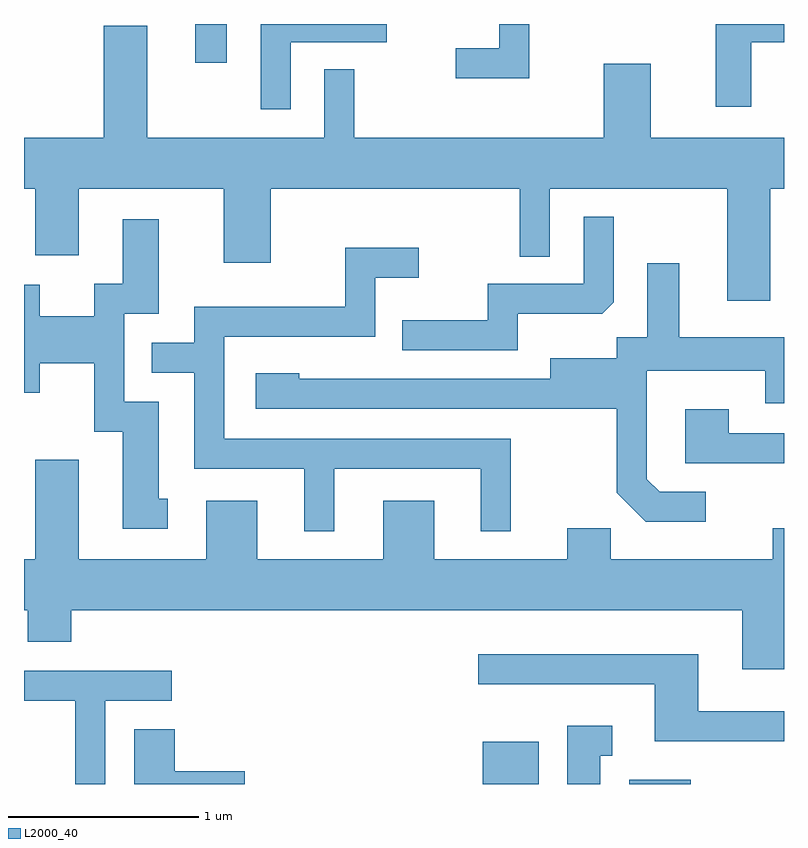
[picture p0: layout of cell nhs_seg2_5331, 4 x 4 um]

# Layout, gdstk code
import gdstk
lib = gdstk.Library(unit=1e-6, precision=1e-09)
def R(c, l, rs):  # rectangles x0, y0, x1, y1
    for r in rs: c.add(gdstk.rectangle(r[:2], r[2:], *l))
def P(c, l, *ps):  # polygons
    for p in ps: c.add(gdstk.Polygon(p, *l))
L2000_40 = (2000, 40)

nhs_seg2_5331 = lib.new_cell('nhs_seg2_5331')
R(nhs_seg2_5331, L2000_40, [(344.026,1091.802,344.319,1092.024), (344.796,1091.802,345.119,1091.824), (342.511,1095.598,342.679,1095.802)])
P(nhs_seg2_5331, L2000_40, [(345.439,1095.706),(345.611,1095.706),(345.611,1095.802),(345.251,1095.802),(345.251,1095.366),(345.439,1095.366)],
  [(344.269,1095.802),(344.111,1095.802),(344.111,1095.674),(343.883,1095.674),(343.883,1095.516),(344.269,1095.516)],
  [(343.014,1095.706),(343.519,1095.706),(343.519,1095.802),(342.856,1095.802),(342.856,1095.353),(343.014,1095.353)],
  [(345.539,1094.936),(345.611,1094.936),(345.611,1095.204),(344.909,1095.204),(344.909,1095.594),(344.661,1095.594),(344.661,1095.204),(343.349,1095.204),(343.349,1095.563),(343.191,1095.563),(343.191,1095.204),(342.259,1095.204),(342.259,1095.794),(342.031,1095.794),(342.031,1095.204),(341.611,1095.204),(341.611,1094.936),(341.671,1094.936),(341.671,1094.586),(341.899,1094.586),(341.899,1094.936),(342.661,1094.936),(342.661,1094.546),(342.909,1094.546),(342.909,1094.936),(344.221,1094.936),(344.221,1094.578),(344.379,1094.578),(344.379,1094.936),(345.311,1094.936),(345.311,1094.346),(345.539,1094.346)],
  [(344.209,1094.276),(344.654,1094.276),(344.714,1094.337),(344.714,1094.788),(344.556,1094.788),(344.556,1094.434),(344.051,1094.434),(344.051,1094.244),(343.603,1094.244),(343.603,1094.086),(344.209,1094.086)],
  [(342.368,1093.304),(342.319,1093.304),(342.319,1093.814),(342.139,1093.814),(342.139,1094.276),(342.319,1094.276),(342.319,1094.774),(342.131,1094.774),(342.131,1094.434),(341.981,1094.434),(341.981,1094.264),(341.694,1094.264),(341.694,1094.429),(341.611,1094.429),(341.611,1093.861),(341.694,1093.861),(341.694,1094.016),(341.981,1094.016),(341.981,1093.656),(342.131,1093.656),(342.131,1093.146),(342.368,1093.146)],
  [(343.244,1093.461),(344.016,1093.461),(344.016,1093.133),(344.174,1093.133),(344.174,1093.619),(342.664,1093.619),(342.664,1094.156),(343.459,1094.156),(343.459,1094.466),(343.688,1094.466),(343.688,1094.624),(343.301,1094.624),(343.301,1094.314),(342.506,1094.314),(342.506,1094.124),(342.283,1094.124),(342.283,1093.966),(342.506,1093.966),(342.506,1093.461),(343.086,1093.461),(343.086,1093.133),(343.244,1093.133)],
  [(345.198,1093.339),(344.957,1093.339),(344.889,1093.407),(344.889,1093.976),(345.511,1093.976),(345.511,1093.806),(345.611,1093.806),(345.611,1094.154),(345.059,1094.154),(345.059,1094.543),(344.891,1094.543),(344.891,1094.154),(344.731,1094.154),(344.731,1094.044),(344.381,1094.044),(344.381,1093.934),(343.059,1093.934),(343.059,1093.964),(342.831,1093.964),(342.831,1093.776),(344.731,1093.776),(344.731,1093.334),(344.884,1093.181),(345.198,1093.181)],
  [(345.611,1093.649),(345.319,1093.649),(345.319,1093.774),(345.091,1093.774),(345.091,1093.491),(345.611,1093.491)],
  [(344.471,1093.149),(344.471,1092.984),(343.769,1092.984),(343.769,1093.294),(343.501,1093.294),(343.501,1092.984),(342.839,1092.984),(342.839,1093.294),(342.571,1093.294),(342.571,1092.984),(341.899,1092.984),(341.899,1093.509),(341.671,1093.509),(341.671,1092.984),(341.611,1092.984),(341.611,1092.716),(341.631,1092.716),(341.631,1092.551),(341.859,1092.551),(341.859,1092.716),(345.391,1092.716),(345.391,1092.406),(345.611,1092.406),(345.611,1093.149),(345.551,1093.149),(345.551,1092.984),(344.699,1092.984),(344.699,1093.149)],
  [(345.611,1092.184),(345.159,1092.184),(345.159,1092.484),(344.003,1092.484),(344.003,1092.326),(344.931,1092.326),(344.931,1092.026),(345.611,1092.026)],
  [(342.039,1092.241),(342.388,1092.241),(342.388,1092.399),(341.611,1092.399),(341.611,1092.241),(341.881,1092.241),(341.881,1091.802),(342.039,1091.802)],
  [(344.644,1091.951),(344.708,1091.951),(344.708,1092.109),(344.471,1092.109),(344.471,1091.802),(344.644,1091.802)],
  [(342.774,1091.869),(342.404,1091.869),(342.404,1092.089),(342.191,1092.089),(342.191,1091.802),(342.774,1091.802)])

lib.write_gds('nhs_seg2_5331.gds')
